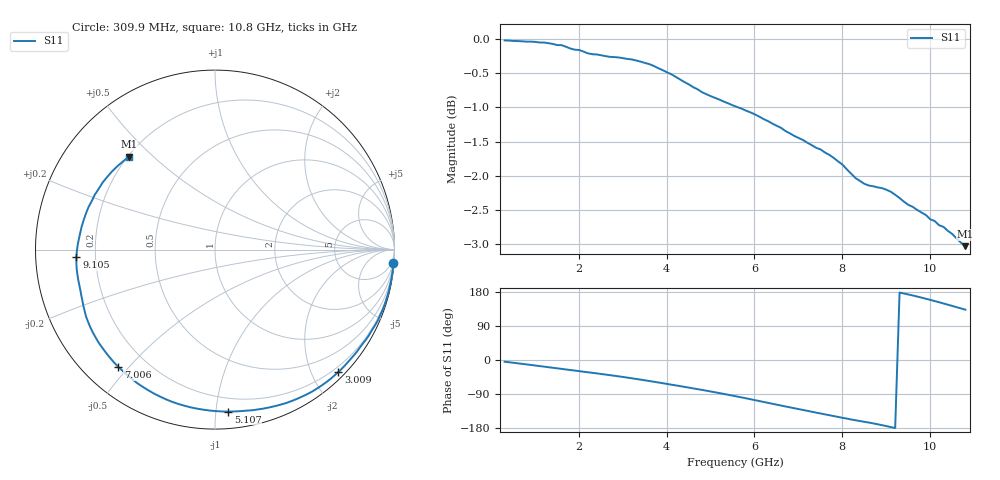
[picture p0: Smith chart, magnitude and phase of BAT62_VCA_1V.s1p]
! Infineon Technologies  Discrete & RF Semiconductors
! BAT62
! VCA = 1 V
! One-Port S-Parameters
# Hz  S  MA  R  50
!f  S11
!Hz  Mag  Ang
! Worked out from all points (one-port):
!   106 points, 309.9 MHz to 10.8 GHz, reference 50 ohm
!   lowest |S11| = -3.0 dB at 10.8 GHz (marker M1), VSWR 5.80, Z = 10.2 + j21.1 ohm
!   |S11| at or under -10 dB: nowhere
!   S11 on the Smith chart (normalised r, x): 309.9 MHz: 1, -26; 3.009 GHz: 0.11, -2.42; 5.107 GHz: 0.11, -1.08; 7.006 GHz: 0.10, -0.47; 9.105 GHz: 0.13, -0.03; 10.8 GHz: 0.20, +0.42
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3.0985e8  0.9974 -4.4
1.0095e9  0.995 -14.6
1.70915e9  0.9868 -25.0
2.4088e9  0.9742 -35.3
3.0085e9  0.9681 -44.8
3.4083e9  0.9625 -51.8
3.70815e9  0.9555 -57.4
4.10795e9  0.9423 -65.1
4.30785e9  0.934 -68.9
4.70765e9  0.9187 -77.0
5.10745e9  0.9055 -85.3
5.6072e9  0.8917 -96.5
5.90705e9  0.8839 -103.4
6.30685e9  0.871 -113.0
6.6067e9  0.8611 -120.2
6.90655e9  0.8495 -127.3
7.0065e9  0.8466 -129.6
7.4063e9  0.8327 -138.9
7.6062e9  0.8261 -143.4
8.006e9  0.8095 -152.6
8.2059e9  0.7971 -157.0
8.70565e9  0.7806 -167.3
9.10545e9  0.7734 -176.9
9.50525e9  0.7565 172.9
9.8051e9  0.7468 164.6
1.010495e10  0.7363 155.5
1.050475e10  0.7204 142.7
1.08046e10  0.7057 132.8
